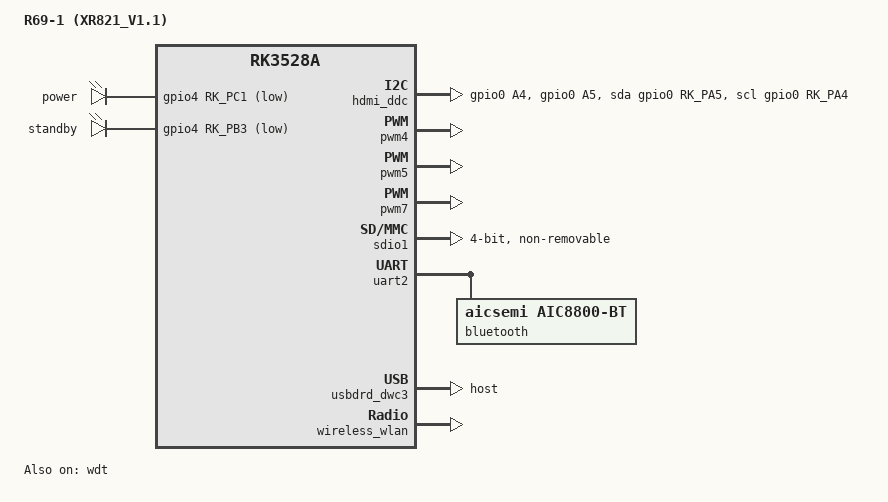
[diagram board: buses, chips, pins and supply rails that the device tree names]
/dts-v1/;

/*
 * Written by tools/dtcx/upstream.py from board.dts: a view, not edited.
 * Over rockchip-linux/kernel at 77168c8d5ab8.
 * Needs, beyond it, found by name and so best-effort: each
 * patch adding a name the tree uses or a dtsi change it keeps, which may in
 * turn need others before it:
 *   patches/linux-rockchip/bluetooth-hci-h4-serdev.patch:
 *     "aicsemi,aic8800-bt"
 */

#include "rk3518-evb1-ddr4-v10.dts"
#include <dt-bindings/clock/rk3528-cru.h>
#include <dt-bindings/gpio/gpio.h>
#include <dt-bindings/interrupt-controller/arm-gic.h>
#include <dt-bindings/interrupt-controller/irq.h>
#include <dt-bindings/pinctrl/rockchip.h>
#include <dt-bindings/input/linux-event-codes.h>
#include <dt-bindings/suspend/rockchip-rk3528.h>

/ {
	/* board name first; rk3528a last, because rkmpp has no rk3518 entry and cannot
	 * otherwise find the VPU */
	compatible = "r69-1,rk3518-tvbox", "rockchip,rk3518-evb1-ddr4-v10", "rockchip,rk3518", "rockchip,rk3528a";
	model = "R69-1 (XR821_V1.1)";
	/delete-node/ chosen;

	gmac1: ethernet@ffbe0000 {
		compatible = "rockchip,rk3528-gmac", "snps,dwmac-4.20a";
		reg = <0x00 0xffbe0000 0x00 0x10000>;
		interrupts = <GIC_SPI 121 IRQ_TYPE_LEVEL_HIGH>, <GIC_SPI 124 IRQ_TYPE_LEVEL_HIGH>;
		interrupt-names = "macirq", "eth_wake_irq";
		rockchip,grf = <&grf>;
		clocks = <&cru CLK_GMAC1_SRC_VPU>,
		         <&cru CLK_GMAC1_RMII_VPU>,
		         <&cru PCLK_MAC_VPU>,
		         <&cru ACLK_MAC_VPU>;
		clock-names = "stmmaceth", "clk_mac_ref", "pclk_mac", "aclk_mac";
		resets = <&cru SRST_ARESETN_MAC>;
		reset-names = "stmmaceth";
		snps,mixed-burst;
		snps,tso;
		snps,axi-config = <&gmac1_stmmac_axi_setup>;
		snps,mtl-rx-config = <&gmac1_mtl_rx_setup>;
		snps,mtl-tx-config = <&gmac1_mtl_tx_setup>;
		status = "disabled";

		mdio1: mdio {
			compatible = "snps,dwmac-mdio";
			#address-cells = <1>;
			#size-cells = <0>;
		};

		gmac1_stmmac_axi_setup: stmmac-axi-config {
			snps,wr_osr_lmt = <4>;
			snps,rd_osr_lmt = <8>;
			snps,blen = <0 0 0 0 16 8 4>;
		};

		gmac1_mtl_rx_setup: rx-queues-config {
			snps,rx-queues-to-use = <1>;

			queue0 {
			};
		};

		gmac1_mtl_tx_setup: tx-queues-config {
			snps,tx-queues-to-use = <1>;

			queue0 {
			};
		};
	};

	/* the HDMI DDC lines as a full I2C bus: dw-hdmi's own master reads the EDID but refuses DDC/CI */
	hdmi_ddc: i2c-hdmi-ddc {
		compatible = "i2c-gpio";
		sda-gpios = <&gpio0 RK_PA5 GPIO_OPEN_DRAIN>;
		scl-gpios = <&gpio0 RK_PA4 GPIO_OPEN_DRAIN>;
		i2c-gpio,delay-us = <5>;
		pinctrl-names = "default";
		pinctrl-0 = <&hdmi_ddc_gpio>;
		#address-cells = <1>;
		#size-cells = <0>;
	};

	leds {
		compatible = "gpio-leds";

		/* power/standby are the names the shared LED hooks drive; retain-state-*
		 * stops the LED core clearing them at shutdown and suspend */
		power_led: power {
			label = "power";
			gpios = <&gpio4 RK_PC1 GPIO_ACTIVE_LOW>;
			default-state = "on";
			retain-state-shutdown;
			retain-state-suspended;
		};

		standby_led: standby {
			label = "standby";
			gpios = <&gpio4 RK_PB3 GPIO_ACTIVE_LOW>;
			default-state = "off";
			retain-state-shutdown;
			retain-state-suspended;
		};
	};
};

&adc_keys {
	vol-up-key {
		/* The recovery button, not a volume key: mainline's code for one. */
		linux,code = <KEY_VENDOR>;
	};
};

&cpu0_opp_table {
	mbist-vmin = <825000 925000 975000>;
	rockchip,pvtm-voltage-sel = <0 1420 0>, <1410 1444 1>, <1445 1474 2>, <1475 1509 3>,
	                            <1510 1544 4>, <1545 1579 5>, <1580 1619 6>,
	                            <1620 1689 7>, <1690 1744 8>, <1745 1799 9>,
	                            <1800 9999 10>;
};

&dmc {
	system-status-level = <1 8>;
	center-supply = <&vdd_cpu>;
};

&dmc_opp_table {
	rockchip,leakage-voltage-sel = <1 10 0>, <11 14 1>, <15 22 2>, <23 28 3>,
	                               <29 254 4>;
};

&gpu {
	/* names mainline lima expects; the vendor Mali blob used its own */
	interrupt-names = "gp", "gpmmu", "pp", "pp0", "ppmmu0", "pp1", "ppmmu1";
	clocks = <&cru ACLK_GPU_MALI>, <&cru ACLK_GPU_MALI>;
	clock-names = "bus", "core";
	mali-supply = <&vdd_cpu>;
};

&gpu_bus_opp_table {
	rockchip,leakage-voltage-sel = <1 22 0>, <23 254 1>;
};

&gpu_opp_table {
	rockchip,pvtm-voltage-sel = <0 809 0>, <810 830 1>, <831 850 2>, <851 880 3>,
	                            <881 890 4>, <891 910 5>, <911 930 6>, <931 950 7>,
	                            <951 970 8>, <971 995 9>, <1000 9999 10>;
};

&gpu_power_model {
	ls = <0xffffc2d6 0x1071a 0x00>;
	ts = <0x302a42 0x1d55a 0xfffff636 0x27>;
};

&hdmi {
	ddc-i2c-bus = <&hdmi_ddc>;
};

&hdmi_pins {
	rockchip,pins = <0 RK_PA3 1 &pcfg_pull_none>;
};

&i2c6 {
	status = "disabled";
};

&pinctrl {
	hdmi {
		hdmi_ddc_gpio: hdmi-ddc-gpio {
			rockchip,pins = <0 RK_PA4 RK_FUNC_GPIO &pcfg_pull_none>,
			                <0 RK_PA5 RK_FUNC_GPIO &pcfg_pull_none>;
		};
	};

	wireless-bluetooth {
		uart2m0_gpios: uart2m0-gpios {
			rockchip,pins = <3 RK_PA2 RK_FUNC_GPIO &pcfg_pull_none>;
		};
	};
};

&pwm3 {
	/* IR as an ATF wake source, so the remote can power the box on */
	remote_support_psci = <0x01>;

	ir_key1 {
		rockchip,usercode = <0xfb05>;
		/* The bundled remote, onto the canonical keymap: cog, voice, mouse, OK, home, P and the app keys. */
		rockchip,key_table = <0xbb KEY_OK>, <0xe5 KEY_BACK>, <0x5b KEY_SEARCH>,
		                     <0x4d KEY_CONFIG>, <0xba KEY_UP>, <0xb9 KEY_DOWN>,
		                     <0xb8 KEY_LEFT>, <0xb7 KEY_RIGHT>, <0xd2 KEY_HOMEPAGE>,
		                     <0xfd KEY_VOLUMEUP>, <0xfc KEY_VOLUMEDOWN>,
		                     <0xf7 KEY_POWER>, <0xf6 0x71>, <0xb5 KEY_MENU>,
		                     <0xe4 KEY_BACKSPACE>, <0xff KEY_CHANNELUP>,
		                     <0xfe KEY_CHANNELDOWN>, <0xd0 KEY_TOUCHPAD_TOGGLE>,
		                     <0x04 KEY_RED>, <0x14 KEY_YELLOW>, <0x4c KEY_BLUE>,
		                     <0x4b KEY_GREEN>;
	};

	ir_key2 {
		rockchip,usercode = <0xfe02>;
		rockchip,key_table = <0xec KEY_ENTER>, <0xe6 KEY_BACK>, <0xe9 KEY_UP>,
		                     <0xe5 KEY_DOWN>, <0xae KEY_LEFT>, <0xaf KEY_RIGHT>,
		                     <0xee KEY_HOME>, <0xe7 KEY_VOLUMEUP>,
		                     <0xef KEY_VOLUMEDOWN>, <0xbf KEY_POWER>,
		                     <0xbe KEY_F10>, <0xff KEY_MENU>, <0xbd KEY_BACKSPACE>,
		                     <0xbc KEY_CONNECT>, <0xf0 KEY_CALC>, <0xb3 KEY_TEXT>,
		                     <0xb1 KEY_1>, <0xf2 KEY_2>, <0xf3 KEY_3>, <0xb5 KEY_4>,
		                     <0xf6 KEY_5>, <0xf7 KEY_6>, <0xb9 KEY_7>, <0xfa KEY_8>,
		                     <0xfb KEY_9>, <0xb4 KEY_PREVIOUSSONG>,
		                     <0xb0 KEY_NEXTSONG>, <0xfd KEY_F13>,
		                     <0xdb KEY_KPRIGHTPAREN>, <0xd9 KEY_NEW>,
		                     <0xf8 KEY_REDO>, <0xfe KEY_0>;
	};

	ir_key3 {
		rockchip,usercode = <0xfe01>;
		rockchip,key_table = <0xfd KEY_F13>, <0xf8 KEY_REDO>,
		                     <0xde KEY_KPRIGHTPAREN>, <0xda KEY_ESC>, <0xfa KEY_3>;
	};

	ir_key4 {
		rockchip,key_table = <0x31 KEY_REPLY>, <0x3a KEY_BACK>, <0x35 KEY_UP>,
		                     <0x2d KEY_DOWN>, <0x66 KEY_LEFT>, <0x3e KEY_RIGHT>,
		                     <0x7f KEY_VOLUMEUP>, <0xfe KEY_VOLUMEDOWN>,
		                     <0x23 KEY_POWER>, <0x63 KEY_MUTE>, <0x6d KEY_1>,
		                     <0x6c KEY_2>, <0x33 KEY_3>, <0x71 KEY_4>, <0x70 KEY_5>,
		                     <0x37 KEY_6>, <0x75 KEY_7>, <0x74 KEY_8>, <0x3b KEY_9>,
		                     <0x78 KEY_0>, <0x73 KEY_PAGEDOWN>, <0x22 KEY_PAGEUP>,
		                     <0x72 KEY_SETUP>, <0x7a 0xf9>, <0x79 0xfa>,
		                     <0x77 0xfb>, <0x29 0xfc>, <0x32 0xfd>, <0x6e 0xfe>,
		                     <0x7c 0xff>, <0x3c BTN_0>, <0x67 BTN_1>, <0x25 BTN_2>,
		                     <0x2f BTN_3>, <0x7d BTN_4>, <0x6a KEY_PLAYPAUSE>,
		                     <0x0b KEY_EQUAL>;
	};

	ir_key5 {
		rockchip,key_table = <0x4c KEY_REPLY>, <0x4d KEY_BACK>, <0x4b KEY_UP>,
		                     <0x4a KEY_DOWN>, <0x49 KEY_LEFT>, <0x48 KEY_RIGHT>,
		                     <0x4e KEY_HOME>, <0x0b KEY_VOLUMEUP>,
		                     <0x0c KEY_VOLUMEDOWN>, <0x23 KEY_POWER>,
		                     <0x45 KEY_MUTE>, <0x44 KEY_MENU>, <0x78 KEY_1>,
		                     <0x77 KEY_2>, <0x76 KEY_3>, <0x75 KEY_4>, <0x74 KEY_5>,
		                     <0x73 KEY_6>, <0x72 KEY_7>, <0x71 KEY_8>, <0x70 KEY_9>,
		                     <0x79 KEY_0>, <0x43 KEY_EQUAL>, <0x72 BTN_2>,
		                     <0x5f KEY_SETUP>, <0x25 0xfd>, <0x24 0xfe>,
		                     <0x21 0xff>, <0x20 BTN_0>;
	};

	ir_key6 {
		rockchip,key_table = <0xec KEY_REPLY>, <0xe6 KEY_BACK>, <0xe9 KEY_UP>,
		                     <0xe5 KEY_DOWN>, <0xae KEY_LEFT>, <0xaf KEY_RIGHT>,
		                     <0xee KEY_HOME>, <0xe7 KEY_VOLUMEUP>,
		                     <0xef KEY_VOLUMEDOWN>, <0xbf KEY_POWER>,
		                     <0xbe KEY_MUTE>, <0xb3 KEY_MENU>, <0xff KEY_TEXT>,
		                     <0xb1 KEY_1>, <0xf2 KEY_2>, <0xf3 KEY_3>, <0xb5 KEY_4>,
		                     <0xf6 KEY_5>, <0xf7 KEY_6>, <0xb9 KEY_7>, <0xfa KEY_8>,
		                     <0xfb KEY_9>, <0xfe KEY_0>, <0xbd KEY_EQUAL>,
		                     <0xbc KEY_SETUP>, <0xf0 BTN_4>, <0x0d 0xfd>,
		                     <0x0c 0xfe>, <0x0b 0xff>, <0x0a BTN_0>, <0x0e 0xfc>;
	};

	ir_key7 {
		rockchip,key_table = <0x31 KEY_REPLY>, <0x3a KEY_BACK>, <0x35 KEY_UP>,
		                     <0x2d KEY_DOWN>, <0x66 KEY_LEFT>, <0x3e KEY_RIGHT>,
		                     <0x7f KEY_VOLUMEUP>, <0x7e KEY_VOLUMEDOWN>,
		                     <0x23 KEY_POWER>, <0x63 KEY_MUTE>, <0x6d KEY_1>,
		                     <0x6c KEY_2>, <0x33 KEY_3>, <0x71 KEY_4>, <0x70 KEY_5>,
		                     <0x37 KEY_6>, <0x75 KEY_7>, <0x74 KEY_8>, <0x3b KEY_9>,
		                     <0x78 KEY_0>, <0x73 KEY_PAGEDOWN>, <0x22 KEY_PAGEUP>,
		                     <0x72 KEY_SETUP>, <0x7a 0xf9>, <0x79 0xfa>,
		                     <0x77 0xfb>, <0x29 0xfc>, <0x32 0xfd>, <0x6e 0xfe>,
		                     <0x7c 0xff>, <0x3c BTN_0>, <0x67 BTN_1>, <0x25 BTN_2>,
		                     <0x2f BTN_3>, <0x7d BTN_4>, <0x6a KEY_PLAYPAUSE>,
		                     <0x0b KEY_EQUAL>;
	};

	ir_key8 {
		rockchip,key_table = <0x31 KEY_REPLY>, <0x6a KEY_BACK>, <0x35 KEY_UP>,
		                     <0x2d KEY_DOWN>, <0x66 KEY_LEFT>, <0x3e KEY_RIGHT>,
		                     <0x7f KEY_VOLUMEUP>, <0x7e KEY_VOLUMEDOWN>,
		                     <0x23 KEY_POWER>, <0x63 KEY_MUTE>, <0x6d KEY_1>,
		                     <0x6c KEY_2>, <0x33 KEY_3>, <0x71 KEY_4>, <0x70 KEY_5>,
		                     <0x37 KEY_6>, <0x75 KEY_7>, <0x74 KEY_8>, <0x3b KEY_9>,
		                     <0x78 KEY_0>, <0x73 KEY_PAGEDOWN>, <0x22 KEY_PAGEUP>,
		                     <0x72 KEY_SETUP>, <0x7a 0xf9>, <0x79 0xfa>,
		                     <0x77 0xfb>, <0x2f 0xfc>, <0x32 0xfd>, <0x6e 0xfe>,
		                     <0x7c 0xff>, <0x3c BTN_0>, <0x3a KEY_HELP>,
		                     <0x67 BTN_1>, <0x25 BTN_3>, <0x7d KEY_MENU>,
		                     <0x3f KEY_EQUAL>, <0x29 KEY_TEXT>,
		                     <0x26 KEY_PLAYPAUSE>, <0x76 KEY_BLUE>,
		                     <0x7b KEY_YELLOW>, <0x69 KEY_F8>;
	};

	ir_key9 {
		rockchip,key_table = <0x81 KEY_REPLY>, <0x80 KEY_BACK>, <0x85 KEY_UP>,
		                     <0x87 KEY_DOWN>, <0x84 KEY_LEFT>, <0x86 KEY_RIGHT>,
		                     <0x99 KEY_VOLUMEUP>, <0x9a KEY_VOLUMEDOWN>,
		                     <0x96 KEY_POWER>, <0x9b KEY_MUTE>, <0x89 KEY_1>,
		                     <0x8a KEY_2>, <0x8b KEY_3>, <0x8c KEY_4>, <0x8d KEY_5>,
		                     <0x8e KEY_6>, <0x8f KEY_7>, <0x90 KEY_8>, <0x91 KEY_9>,
		                     <0x88 KEY_0>, <0x83 KEY_PAGEDOWN>, <0x82 KEY_PAGEUP>,
		                     <0x95 KEY_SETUP>, <0x97 0xf9>, <0x98 0xfa>,
		                     <0xc6 BTN_4>, <0xd6 0xfb>, <0xd7 0x10e>, <0xcc 0xfc>,
		                     <0xc3 BTN_8>, <0xd1 0xfd>, <0xd2 0xfe>, <0xd3 0xff>,
		                     <0xd4 BTN_0>, <0xc7 0xfd>, <0xc8 0xfe>, <0xc9 0xff>,
		                     <0xca BTN_0>, <0xcd BTN_9>, <0xce 0x10a>,
		                     <0xcf KEY_HELP>, <0xd0 0x10b>, <0x9c BTN_1>,
		                     <0x93 BTN_2>, <0x92 BTN_3>, <0xc0 KEY_END>,
		                     <0xc1 BTN_7>, <0x9d KEY_PLAYPAUSE>, <0xc4 KEY_STOP>,
		                     <0x94 KEY_EQUAL>, <0x9e KEY_YELLOW>, <0x9f KEY_BLUE>,
		                     <0xcb BTN_5>, <0xc5 BTN_6>;
	};
};

&pwm4 {
	status = "okay";
};

&pwm5 {
	status = "okay";
};

&pwm7 {
	status = "okay";
};

&reboot_mode {
	mode-bootloader = <0x5242c301>;
	mode-charge = <0x5242c30b>;
	mode-fastboot = <0x5242c309>;
	mode-loader = <0x5242c301>;
	mode-normal = <0x5242c300>;
	mode-recovery = <0x5242c303>;
	mode-ums = <0x5242c30c>;
	mode-panic = <0x5242c307>;
	mode-watchdog = <0x5242c308>;
	/* `reboot maskrom` from the OS: the factory SPL reads this register
	 * on the way up and hands to the BootROM — no button, no serial */
	mode-maskrom = <0xef08a53c>;
};

&rockchip_suspend {
	rockchip,sleep-mode-config = <RKPM_SLP_ARMPD>;
	rockchip,wakeup-config = <(RKPM_CPU0_WKUP_EN | RKPM_GPIO_WKUP_EN)>;
	rockchip,pwm-regulator-config = <(RKPM_PWM0_M0_REGULATOR_EN | RKPM_PWM1_M0_REGULATOR_EN)>;
};

&route_hdmi {
	logo,mode = "fullscreen";
	charge_logo,mode = "fullscreen";
};

&route_tve {
	logo,mode = "fullscreen";
	charge_logo,mode = "fullscreen";
};

&sai1 {
	status = "disabled";
};

&sdhci {
	/delete-property/ mmc-hs400-1_8v;
	/delete-property/ mmc-hs400-enhanced-strobe;
	max-frequency = <100000000>;
	mmc-hs200-1_8v;
	mmc-hs200-enhanced-strobe;
};

&sdio0 {
	status = "disabled";
};

&sdio1 {
	max-frequency = <100000000>;
	rockchip,use-v2-tuning;
	no-sd;
	no-mmc;
	supports-sdio;
	bus-width = <4>;
	disable-wp;
	cap-sd-highspeed;
	cap-sdio-irq;
	keep-power-in-suspend;
	non-removable;
	mmc-pwrseq = <&sdio_pwrseq>;
	pinctrl-names = "default";
	pinctrl-0 = <&sdio1_bus4>, <&sdio1_cmd>, <&sdio1_clk>;
	sd-uhs-sdr104;
	status = "okay";
};

&sdio_pwrseq {
	reset-gpios = <&gpio3 RK_PB2 GPIO_ACTIVE_LOW>;
};

&sdmmc {
	/delete-property/ rockchip,default-sample-phase;
	/delete-property/ sd-uhs-sdr12;
	/delete-property/ sd-uhs-sdr25;
	/delete-property/ sd-uhs-sdr50;
	/delete-property/ sd-uhs-sdr104;
	/delete-property/ vqmmc-supply;
};

&tve {
	rockchip,tve-upsample = <0x02>;
};

&uart2 {
	/delete-property/ dmas;
	pinctrl-0 = <&uart2m0_xfer>, <&uart2m0_ctsn>;

	/* the AIC8800's Bluetooth, bound on the serdev bus by bluetooth-hci-h4-serdev */
	bluetooth {
		compatible = "aicsemi,aic8800-bt";
		max-speed = <1500000>;
	};
};

&usbdrd_dwc3 {
	dr_mode = "host";
};

&vcc5v0_otg {
	gpio = <&gpio4 RK_PC2 GPIO_ACTIVE_HIGH>;
};

&vop {
	/delete-property/ support-multi-area;
	/* factory 03 caps every Esmart window at 2K; 02 gives Esmart0 a 4K line buffer */
	esmart_lb_mode = [02];
};

&wdt {
	/* /dev/watchdog for systemd RuntimeWatchdogSec - also the only hang recorder */
	status = "okay";
};

&wifi_enable_h {
	rockchip,pins = <3 RK_PB2 RK_FUNC_GPIO &pcfg_pull_none>;
};

&wifi_host_wake_irq {
	rockchip,pins = <3 RK_PB3 RK_FUNC_GPIO &pcfg_pull_down>;
};

&wireless_bluetooth {
	/delete-property/ bt_port;
	/delete-property/ BT,wake_host_irq;
	uart_rts_gpios = <&gpio3 RK_PA2 GPIO_ACTIVE_LOW>;
	pinctrl-0 = <&uart2m0_rtsn>;
	pinctrl-1 = <&uart2m0_gpios>;
	BT,reset_gpio = <&gpio3 RK_PC1 GPIO_ACTIVE_HIGH>;
	BT,wake_gpio = <&gpio3 RK_PB4 GPIO_ACTIVE_HIGH>;
};

&wireless_wlan {
	wifi_chip_type = "AIC8800";
	WIFI,host_wake_irq = <&gpio3 RK_PB3 GPIO_ACTIVE_HIGH>;
};
